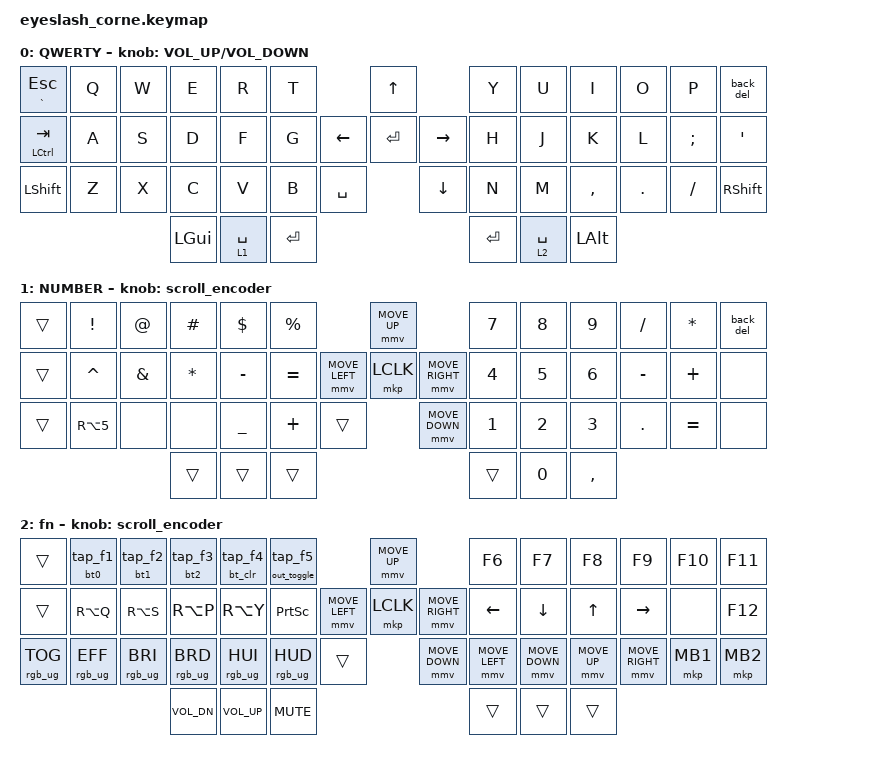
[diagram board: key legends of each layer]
#define ZMK_POINTING_DEFAULT_MOVE_VAL 1200  // 600
#define ZMK_POINTING_DEFAULT_SCRL_VAL 25   // 10

#include <input/processors.dtsi>
#include <zephyr/dt-bindings/input/input-event-codes.h>
#include <behaviors.dtsi>
#include <dt-bindings/zmk/keys.h>
#include <dt-bindings/zmk/bt.h>
#include <dt-bindings/zmk/outputs.h>
#include <dt-bindings/zmk/pointing.h>
#include <dt-bindings/zmk/rgb.h>

&mmv_input_listener { input-processors = <&zip_xy_scaler 2 1>; };

&msc_input_listener { input-processors = <&zip_scroll_scaler 2 1>; };

&msc {
    acceleration-exponent = <1>;      // 0
    time-to-max-speed-ms = <100>;       // 300
    delay-ms = <0>;                   // 0
};

&mmv {
    time-to-max-speed-ms = <500>;
    acceleration-exponent = <1>;
    trigger-period-ms = <16>;
};

/ {
    behaviors {
        back_del: back_del {
            compatible = "zmk,behavior-mod-morph";
            label = "BACK_DEL";
            bindings = <&kp BACKSPACE>, <&kp DELETE>;

            #binding-cells = <0>;
            mods = <(MOD_RSFT|MOD_LSFT)>;
        };

        // Zero-parameter wrappers, because a hold-tap passes its keymap
        // parameters to both the hold and the tap binding.
        tap_f1: tap_f1 {
            compatible = "zmk,behavior-macro";
            #binding-cells = <0>;
            bindings = <&kp F1>;
        };

        tap_f2: tap_f2 {
            compatible = "zmk,behavior-macro";
            #binding-cells = <0>;
            bindings = <&kp F2>;
        };

        tap_f3: tap_f3 {
            compatible = "zmk,behavior-macro";
            #binding-cells = <0>;
            bindings = <&kp F3>;
        };

        tap_f4: tap_f4 {
            compatible = "zmk,behavior-macro";
            #binding-cells = <0>;
            bindings = <&kp F4>;
        };

        tap_f5: tap_f5 {
            compatible = "zmk,behavior-macro";
            #binding-cells = <0>;
            bindings = <&kp F5>;
        };

        bt0: bt0 {
            compatible = "zmk,behavior-macro";
            #binding-cells = <0>;
            bindings = <&bt BT_SEL 0>;
        };

        bt1: bt1 {
            compatible = "zmk,behavior-macro";
            #binding-cells = <0>;
            bindings = <&bt BT_SEL 1>;
        };

        bt2: bt2 {
            compatible = "zmk,behavior-macro";
            #binding-cells = <0>;
            bindings = <&bt BT_SEL 2>;
        };

        bt_clr: bt_clr {
            compatible = "zmk,behavior-macro";
            #binding-cells = <0>;
            bindings = <&bt BT_CLR>;
        };

        out_toggle: out_toggle {
            compatible = "zmk,behavior-macro";
            #binding-cells = <0>;
            bindings = <&out OUT_TOG>;
        };

        // Tap = F-key, hold = Bluetooth action
        bt_f1: bt_f1 {
            compatible = "zmk,behavior-hold-tap";
            #binding-cells = <2>;
            flavor = "balanced";
            tapping-term-ms = <500>;
            bindings = <&bt0>, <&tap_f1>;
        };

        bt_f2: bt_f2 {
            compatible = "zmk,behavior-hold-tap";
            #binding-cells = <2>;
            flavor = "balanced";
            tapping-term-ms = <500>;
            bindings = <&bt1>, <&tap_f2>;
        };

        bt_f3: bt_f3 {
            compatible = "zmk,behavior-hold-tap";
            #binding-cells = <2>;
            flavor = "balanced";
            tapping-term-ms = <500>;
            bindings = <&bt2>, <&tap_f3>;
        };

        bt_f4: bt_f4 {
            compatible = "zmk,behavior-hold-tap";
            #binding-cells = <2>;
            flavor = "balanced";
            tapping-term-ms = <500>;
            bindings = <&bt_clr>, <&tap_f4>;
        };

        bt_f5: bt_f5 {
            compatible = "zmk,behavior-hold-tap";
            #binding-cells = <2>;
            flavor = "balanced";
            tapping-term-ms = <500>;
            bindings = <&out_toggle>, <&tap_f5>;
        };
    };

    rgb_encoder: rgb_encoder {
        compatible = "zmk,behavior-sensor-rotate";
        #sensor-binding-cells = <0>;
        bindings = <&rgb_ug RGB_BRI>, <&rgb_ug RGB_BRD>;
    };

    scroll_encoder: scroll_encoder {
        compatible = "zmk,behavior-sensor-rotate";
        #sensor-binding-cells = <0>;
        bindings = <&msc SCRL_DOWN>, <&msc SCRL_UP>;

        tap-ms = <100>;
    };

    combos {
        compatible = "zmk,combos";

        combo_caps {
            bindings = <&kp CAPS>;
            key-positions = <28 41>;
        };

        combo_esc {
            bindings = <&kp ESCAPE>;
            key-positions = <23 24>;
        };

        combo_tilde {
            bindings = <&kp TILDE>;
            key-positions = <25 26>;
        };

        combo_grave {
            bindings = <&kp GRAVE>;
            key-positions = <26 27>;
        };

        combo_leftLP {
            bindings = <&kp LEFT_PARENTHESIS>;
            key-positions = <17 18>;
        };

        combo_leftBR {
            bindings = <&kp LEFT_BRACE>;
            key-positions = <32 33>;
        };

        combo_leftBT {
            bindings = <&kp LEFT_BRACKET>;
            key-positions = <4 5>;
        };

        combo_rightPT {
            bindings = <&kp RIGHT_PARENTHESIS>;
            key-positions = <22 23>;
        };

        combo_rightBR {
            bindings = <&kp RIGHT_BRACE>;
            key-positions = <36 37>;
        };

        combo_rightBT {
            bindings = <&kp RIGHT_BRACKET>;
            key-positions = <7 8>;
        };

        combo_backslash {
            bindings = <&kp NON_US_BACKSLASH>;
            key-positions = <40 39>;
        };

        combo_pipe {
            bindings = <&kp PIPE>;
            key-positions = <40 41>;
        };
    };

    keymap {
        compatible = "zmk,keymap";

        default_layer {
            display-name = "QWERTY";
            bindings = <
&mt GRAVE ESCAPE  &kp Q  &kp W  &kp E     &kp R        &kp T                             &kp UP                &kp Y      &kp U        &kp I         &kp O    &kp P     &back_del
&mt LCTRL TAB     &kp A  &kp S  &kp D     &kp F        &kp G                   &kp LEFT  &kp ENTER  &kp RIGHT  &kp H      &kp J        &kp K         &kp L    &kp SEMI  &kp SQT
&kp LEFT_SHIFT    &kp Z  &kp X  &kp C     &kp V        &kp B      &kp SPACE              &kp DOWN              &kp N      &kp M        &kp COMMA     &kp DOT  &kp FSLH  &kp RIGHT_SHIFT
                                &kp LGUI  &lt 1 SPACE  &kp ENTER                                               &kp ENTER  &lt 2 SPACE  &kp LEFT_ALT
            >;

            sensor-bindings = <&inc_dec_kp C_VOLUME_UP C_VOLUME_DOWN>;
        };

        lower_layer {
            display-name = "NUMBER";
            bindings = <
&trans  &kp EXCLAMATION  &kp AT_SIGN    &kp POUND     &kp DOLLAR      &kp PERCENT                            &mmv MOVE_UP                     &kp N7        &kp N8        &kp N9        &kp SLASH   &kp ASTERISK  &back_del
&trans  &kp CARET        &kp AMPERSAND  &kp ASTERISK  &kp MINUS       &kp EQUAL              &mmv MOVE_LEFT  &mkp LCLK       &mmv MOVE_RIGHT  &kp NUMBER_4  &kp N5        &kp NUMBER_6  &kp MINUS   &kp PLUS      &none
&trans  &kp RA(N5)       &none          &none         &kp UNDERSCORE  &kp PLUS     &trans                    &mmv MOVE_DOWN                   &kp NUMBER_1  &kp NUMBER_2  &kp NUMBER_3  &kp PERIOD  &kp EQUAL     &none
                                        &trans        &trans          &trans                                                                  &trans        &kp N0        &kp COMMA
            >;

            sensor-bindings = <&scroll_encoder>;
        };

        raise_layer {
            display-name = "fn";
            bindings = <
&trans           &bt_f1 0 0           &bt_f2 0 0           &bt_f3 0 0           &bt_f4 0 0           &bt_f5 0 0                                     &mmv MOVE_UP                     &kp F6          &kp F7          &kp F8        &kp F9           &kp F10   &kp F11
&trans           &kp RA(Q)        &kp RA(S)        &kp RA(P)        &kp RA(Y)        &kp PRINTSCREEN            &mmv MOVE_LEFT  &mkp LCLK       &mmv MOVE_RIGHT  &kp LEFT        &kp DOWN        &kp UP_ARROW  &kp RIGHT        &none     &kp F12
&rgb_ug RGB_TOG  &rgb_ug RGB_EFF  &rgb_ug RGB_BRI  &rgb_ug RGB_BRD  &rgb_ug RGB_HUI  &rgb_ug RGB_HUD  &trans                    &mmv MOVE_DOWN                   &mmv MOVE_LEFT  &mmv MOVE_DOWN  &mmv MOVE_UP  &mmv MOVE_RIGHT  &mkp MB1  &mkp MB2
                                                   &kp C_VOL_DN     &kp C_VOL_UP     &kp K_MUTE                                                                  &trans          &trans          &trans
            >;

            sensor-bindings = <&scroll_encoder>;
        };

    };
};
